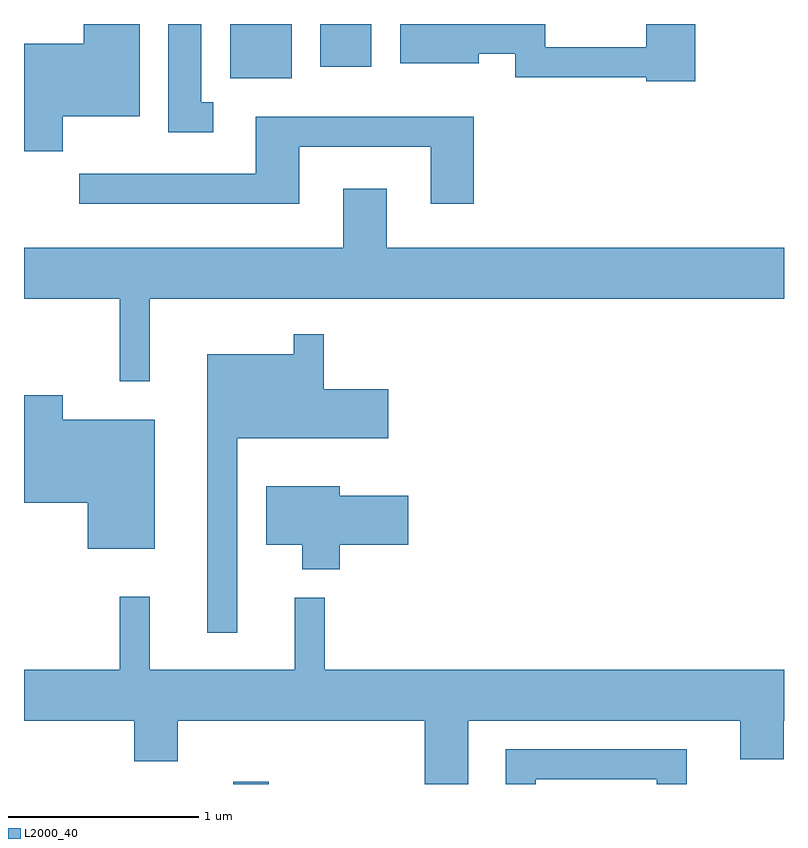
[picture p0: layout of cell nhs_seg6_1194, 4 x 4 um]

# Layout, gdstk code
import gdstk
lib = gdstk.Library(unit=1e-6, precision=1e-09)
def R(c, l, rs):  # rectangles x0, y0, x1, y1
    for r in rs: c.add(gdstk.rectangle(r[:2], r[2:], *l))
def P(c, l, *ps):  # polygons
    for p in ps: c.add(gdstk.Polygon(p, *l))
L2000_40 = (2000, 40)

nhs_seg6_1194 = lib.new_cell('nhs_seg6_1194')
R(nhs_seg6_1194, L2000_40, [(222.711,1534.162,222.899,1534.174), (222.696,1537.876,223.019,1538.162), (223.171,1537.936,223.439,1538.162)])
P(nhs_seg6_1194, L2000_40, [(221.814,1537.676),(222.219,1537.676),(222.219,1538.162),(221.926,1538.162),(221.926,1538.059),(221.611,1538.059),(221.611,1537.491),(221.814,1537.491)],
  [(225.144,1538.162),(224.886,1538.162),(224.886,1538.039),(224.354,1538.039),(224.354,1538.162),(223.591,1538.162),(223.591,1537.956),(224.004,1537.956),(224.004,1538.006),(224.196,1538.006),(224.196,1537.881),(224.886,1537.881),(224.886,1537.861),(225.144,1537.861)],
  [(222.608,1537.749),(222.544,1537.749),(222.544,1538.162),(222.371,1538.162),(222.371,1537.591),(222.608,1537.591)],
  [(223.059,1537.516),(223.751,1537.516),(223.751,1537.216),(223.979,1537.216),(223.979,1537.674),(222.831,1537.674),(222.831,1537.374),(221.903,1537.374),(221.903,1537.216),(223.059,1537.216)],
  [(222.274,1536.716),(225.611,1536.716),(225.611,1536.984),(223.519,1536.984),(223.519,1537.294),(223.291,1537.294),(223.291,1536.984),(221.611,1536.984),(221.611,1536.716),(222.116,1536.716),(222.116,1536.283),(222.274,1536.283)],
  [(222.734,1535.981),(223.529,1535.981),(223.529,1536.239),(223.189,1536.239),(223.189,1536.528),(223.031,1536.528),(223.031,1536.424),(222.576,1536.424),(222.576,1534.958),(222.734,1534.958)],
  [(222.299,1536.079),(221.814,1536.079),(221.814,1536.209),(221.611,1536.209),(221.611,1535.641),(221.946,1535.641),(221.946,1535.401),(222.299,1535.401)],
  [(223.274,1535.421),(223.634,1535.421),(223.634,1535.679),(223.274,1535.679),(223.274,1535.729),(222.886,1535.729),(222.886,1535.421),(223.076,1535.421),(223.076,1535.291),(223.274,1535.291)],
  [(223.949,1534.496),(225.381,1534.496),(225.381,1534.291),(225.609,1534.291),(225.609,1534.496),(225.611,1534.496),(225.611,1534.764),(223.194,1534.764),(223.194,1535.143),(223.036,1535.143),(223.036,1534.764),(222.274,1534.764),(222.274,1535.148),(222.116,1535.148),(222.116,1534.764),(221.611,1534.764),(221.611,1534.496),(222.191,1534.496),(222.191,1534.281),(222.419,1534.281),(222.419,1534.496),(223.721,1534.496),(223.721,1534.162),(223.949,1534.162)],
  [(224.304,1534.186),(224.941,1534.186),(224.941,1534.162),(225.099,1534.162),(225.099,1534.344),(224.146,1534.344),(224.146,1534.162),(224.304,1534.162)])

lib.write_gds('nhs_seg6_1194.gds')
